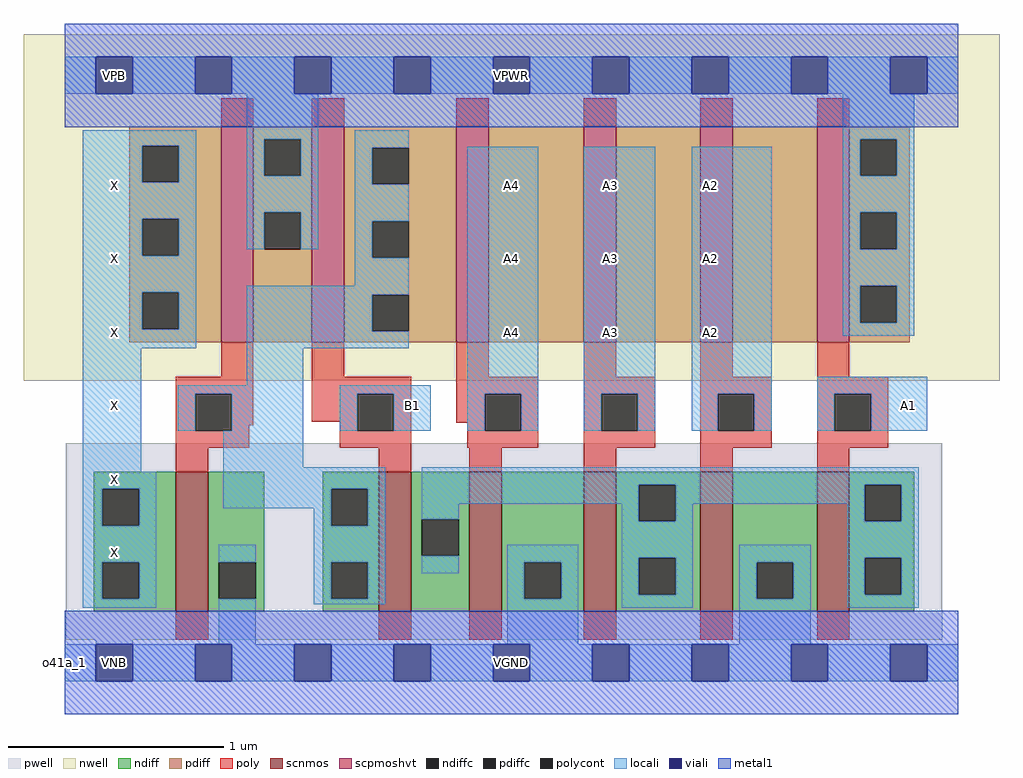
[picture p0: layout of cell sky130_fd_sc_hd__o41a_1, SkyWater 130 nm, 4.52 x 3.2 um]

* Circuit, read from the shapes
.subckt sky130_fd_sc_hd__o41a_1 A1 A2 A3 A4 B1 VGND VNB VPB VPWR X
XM1 VGND n1 X VNB sky130_fd_pr__nfet_01v8 w=0.65 l=0.15
XM2 n2 B1 n1 VNB sky130_fd_pr__nfet_01v8 w=0.65 l=0.15
XM3 VGND A4 n2 VNB sky130_fd_pr__nfet_01v8 w=0.65 l=0.15
XM4 n2 A3 VGND VNB sky130_fd_pr__nfet_01v8 w=0.65 l=0.15
XM5 VGND A2 n2 VNB sky130_fd_pr__nfet_01v8 w=0.65 l=0.15
XM6 n2 A1 VGND VNB sky130_fd_pr__nfet_01v8 w=0.65 l=0.15
XM7 VPWR n1 X VPB sky130_fd_pr__pfet_01v8_hvt w=1 l=0.15
XM8 n1 B1 VPWR VPB sky130_fd_pr__pfet_01v8_hvt w=1 l=0.15
XM9 n3 A4 n1 VPB sky130_fd_pr__pfet_01v8_hvt w=1 l=0.15
XM10 n4 A3 n3 VPB sky130_fd_pr__pfet_01v8_hvt w=1 l=0.15
XM11 n5 A2 n4 VPB sky130_fd_pr__pfet_01v8_hvt w=1 l=0.15
XM12 VPWR A1 n5 VPB sky130_fd_pr__pfet_01v8_hvt w=1 l=0.15
.ends

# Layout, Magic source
magic
tech sky130A
magscale 1 2
<< nwell >>
rect -38 261 866 582
<< pwell >>
rect 1 21 813 203
rect 29 -17 63 21
<< scnmos >>
rect 103 47 133 177
rect 291 47 321 177
rect 375 47 405 177
rect 481 47 511 177
rect 589 47 619 177
rect 697 47 727 177
<< scpmoshvt >>
rect 145 297 175 497
rect 229 297 259 497
rect 363 297 393 497
rect 481 297 511 497
rect 589 297 619 497
rect 697 297 727 497
<< ndiff >>
rect 27 161 103 177
rect 27 127 35 161
rect 69 127 103 161
rect 27 93 103 127
rect 27 59 35 93
rect 69 59 103 93
rect 27 47 103 59
rect 133 93 185 177
rect 133 59 143 93
rect 177 59 185 93
rect 133 47 185 59
rect 239 161 291 177
rect 239 127 247 161
rect 281 127 291 161
rect 239 93 291 127
rect 239 59 247 93
rect 281 59 291 93
rect 239 47 291 59
rect 321 133 375 177
rect 321 99 331 133
rect 365 99 375 133
rect 321 47 375 99
rect 405 93 481 177
rect 405 59 426 93
rect 460 59 481 93
rect 405 47 481 59
rect 511 165 589 177
rect 511 131 532 165
rect 566 131 589 165
rect 511 97 589 131
rect 511 63 532 97
rect 566 63 589 97
rect 511 47 589 63
rect 619 93 697 177
rect 619 59 641 93
rect 675 59 697 93
rect 619 47 697 59
rect 727 165 787 177
rect 727 131 741 165
rect 775 131 787 165
rect 727 97 787 131
rect 727 63 741 97
rect 775 63 787 97
rect 727 47 787 63
<< pdiff >>
rect 60 479 145 497
rect 60 445 72 479
rect 106 445 145 479
rect 60 411 145 445
rect 60 377 72 411
rect 106 377 145 411
rect 60 343 145 377
rect 60 309 72 343
rect 106 309 145 343
rect 60 297 145 309
rect 175 485 229 497
rect 175 451 185 485
rect 219 451 229 485
rect 175 417 229 451
rect 175 383 185 417
rect 219 383 229 417
rect 175 297 229 383
rect 259 477 363 497
rect 259 443 285 477
rect 319 443 363 477
rect 259 409 363 443
rect 259 375 285 409
rect 319 375 363 409
rect 259 341 363 375
rect 259 307 285 341
rect 319 307 363 341
rect 259 297 363 307
rect 393 297 481 497
rect 511 297 589 497
rect 619 297 697 497
rect 727 485 783 497
rect 727 451 737 485
rect 771 451 783 485
rect 727 417 783 451
rect 727 383 737 417
rect 771 383 783 417
rect 727 349 783 383
rect 727 315 737 349
rect 771 315 783 349
rect 727 297 783 315
<< ndiffc >>
rect 35 127 69 161
rect 35 59 69 93
rect 143 59 177 93
rect 247 127 281 161
rect 247 59 281 93
rect 331 99 365 133
rect 426 59 460 93
rect 532 131 566 165
rect 532 63 566 97
rect 641 59 675 93
rect 741 131 775 165
rect 741 63 775 97
<< pdiffc >>
rect 72 445 106 479
rect 72 377 106 411
rect 72 309 106 343
rect 185 451 219 485
rect 185 383 219 417
rect 285 443 319 477
rect 285 375 319 409
rect 285 307 319 341
rect 737 451 771 485
rect 737 383 771 417
rect 737 315 771 349
<< poly >>
rect 145 497 175 523
rect 229 497 259 523
rect 363 497 393 523
rect 481 497 511 523
rect 589 497 619 523
rect 697 497 727 523
rect 145 265 175 297
rect 103 249 175 265
rect 103 215 121 249
rect 155 220 175 249
rect 229 265 259 297
rect 363 265 393 297
rect 481 265 511 297
rect 589 265 619 297
rect 697 265 727 297
rect 229 249 321 265
rect 229 223 271 249
rect 155 215 171 220
rect 103 199 171 215
rect 255 215 271 223
rect 305 215 321 249
rect 363 249 439 265
rect 363 222 389 249
rect 255 199 321 215
rect 373 215 389 222
rect 423 215 439 249
rect 373 199 439 215
rect 481 249 547 265
rect 481 215 497 249
rect 531 215 547 249
rect 481 199 547 215
rect 589 249 655 265
rect 589 215 605 249
rect 639 215 655 249
rect 589 199 655 215
rect 697 249 763 265
rect 697 215 713 249
rect 747 215 763 249
rect 697 199 763 215
rect 103 177 133 199
rect 291 177 321 199
rect 375 177 405 199
rect 481 177 511 199
rect 589 177 619 199
rect 697 177 727 199
rect 103 21 133 47
rect 291 21 321 47
rect 375 21 405 47
rect 481 21 511 47
rect 589 21 619 47
rect 697 21 727 47
<< polycont >>
rect 121 215 155 249
rect 271 215 305 249
rect 389 215 423 249
rect 497 215 531 249
rect 605 215 639 249
rect 713 215 747 249
<< locali >>
rect 0 527 29 561
rect 63 527 121 561
rect 155 527 213 561
rect 247 527 305 561
rect 339 527 397 561
rect 431 527 489 561
rect 523 527 581 561
rect 615 527 673 561
rect 707 527 765 561
rect 799 527 828 561
rect 17 479 122 493
rect 17 445 72 479
rect 106 445 122 479
rect 17 411 122 445
rect 17 377 72 411
rect 106 377 122 411
rect 169 485 235 527
rect 169 451 185 485
rect 219 451 235 485
rect 169 417 235 451
rect 169 383 185 417
rect 219 383 235 417
rect 269 477 319 493
rect 721 485 787 527
rect 269 443 285 477
rect 269 409 319 443
rect 17 343 122 377
rect 269 375 285 409
rect 269 349 319 375
rect 17 309 72 343
rect 106 309 122 343
rect 17 291 122 309
rect 169 341 319 349
rect 169 307 285 341
rect 169 291 319 307
rect 17 177 71 291
rect 169 257 221 291
rect 105 249 221 257
rect 105 215 121 249
rect 155 215 221 249
rect 255 249 339 257
rect 255 215 271 249
rect 305 215 339 249
rect 373 249 439 478
rect 373 215 389 249
rect 423 215 439 249
rect 481 249 547 478
rect 481 215 497 249
rect 531 215 547 249
rect 581 249 655 478
rect 721 451 737 485
rect 771 451 787 485
rect 721 417 787 451
rect 721 383 737 417
rect 771 383 787 417
rect 721 349 787 383
rect 721 315 737 349
rect 771 315 787 349
rect 721 303 787 315
rect 581 215 605 249
rect 639 215 655 249
rect 697 249 799 265
rect 697 215 713 249
rect 747 215 799 249
rect 147 181 221 215
rect 17 161 85 177
rect 17 127 35 161
rect 69 127 85 161
rect 147 161 297 181
rect 147 143 247 161
rect 17 93 85 127
rect 231 127 247 143
rect 281 127 297 161
rect 17 59 35 93
rect 69 59 85 93
rect 17 51 85 59
rect 143 93 177 109
rect 143 17 177 59
rect 231 93 297 127
rect 231 59 247 93
rect 281 59 297 93
rect 331 165 791 181
rect 331 147 532 165
rect 331 133 365 147
rect 516 131 532 147
rect 566 147 741 165
rect 566 131 582 147
rect 331 83 365 99
rect 410 93 476 109
rect 231 54 297 59
rect 410 59 426 93
rect 460 59 476 93
rect 410 17 476 59
rect 516 97 582 131
rect 725 131 741 147
rect 775 131 791 165
rect 516 63 532 97
rect 566 63 582 97
rect 516 51 582 63
rect 625 93 691 109
rect 625 59 641 93
rect 675 59 691 93
rect 625 17 691 59
rect 725 97 791 131
rect 725 63 741 97
rect 775 63 791 97
rect 725 51 791 63
rect 0 -17 29 17
rect 63 -17 121 17
rect 155 -17 213 17
rect 247 -17 305 17
rect 339 -17 397 17
rect 431 -17 489 17
rect 523 -17 581 17
rect 615 -17 673 17
rect 707 -17 765 17
rect 799 -17 828 17
<< viali >>
rect 29 527 63 561
rect 121 527 155 561
rect 213 527 247 561
rect 305 527 339 561
rect 397 527 431 561
rect 489 527 523 561
rect 581 527 615 561
rect 673 527 707 561
rect 765 527 799 561
rect 29 -17 63 17
rect 121 -17 155 17
rect 213 -17 247 17
rect 305 -17 339 17
rect 397 -17 431 17
rect 489 -17 523 17
rect 581 -17 615 17
rect 673 -17 707 17
rect 765 -17 799 17
<< metal1 >>
rect 0 561 828 592
rect 0 527 29 561
rect 63 527 121 561
rect 155 527 213 561
rect 247 527 305 561
rect 339 527 397 561
rect 431 527 489 561
rect 523 527 581 561
rect 615 527 673 561
rect 707 527 765 561
rect 799 527 828 561
rect 0 496 828 527
rect 0 17 828 48
rect 0 -17 29 17
rect 63 -17 121 17
rect 155 -17 213 17
rect 247 -17 305 17
rect 339 -17 397 17
rect 431 -17 489 17
rect 523 -17 581 17
rect 615 -17 673 17
rect 707 -17 765 17
rect 799 -17 828 17
rect 0 -48 828 -17
<< labels >>
flabel locali s 765 221 799 255 0 FreeSans 250 0 0 0 A1
port 1 nsew signal input
flabel locali s 581 289 615 323 0 FreeSans 250 0 0 0 A2
port 2 nsew signal input
flabel locali s 581 357 615 391 0 FreeSans 250 0 0 0 A2
port 2 nsew signal input
flabel locali s 581 425 615 459 0 FreeSans 250 0 0 0 A2
port 2 nsew signal input
flabel locali s 489 289 523 323 0 FreeSans 250 0 0 0 A3
port 3 nsew signal input
flabel locali s 489 357 523 391 0 FreeSans 250 0 0 0 A3
port 3 nsew signal input
flabel locali s 489 425 523 459 0 FreeSans 250 0 0 0 A3
port 3 nsew signal input
flabel locali s 397 425 431 459 0 FreeSans 250 0 0 0 A4
port 4 nsew signal input
flabel locali s 397 357 431 391 0 FreeSans 250 0 0 0 A4
port 4 nsew signal input
flabel locali s 397 289 431 323 0 FreeSans 250 0 0 0 A4
port 4 nsew signal input
flabel locali s 305 221 339 255 0 FreeSans 250 0 0 0 B1
port 5 nsew signal input
flabel locali s 29 425 63 459 0 FreeSans 250 0 0 0 X
port 10 nsew signal output
flabel locali s 29 357 63 391 0 FreeSans 250 0 0 0 X
port 10 nsew signal output
flabel locali s 29 289 63 323 0 FreeSans 250 0 0 0 X
port 10 nsew signal output
flabel locali s 29 85 63 119 0 FreeSans 250 0 0 0 X
port 10 nsew signal output
flabel locali s 29 153 63 187 0 FreeSans 250 0 0 0 X
port 10 nsew signal output
flabel locali s 29 221 63 255 0 FreeSans 250 0 0 0 X
port 10 nsew signal output
flabel nwell s 29 527 63 561 0 FreeSans 200 0 0 0 VPB
port 8 nsew power bidirectional
flabel pwell s 29 -17 63 17 0 FreeSans 200 0 0 0 VNB
port 7 nsew ground bidirectional
flabel metal1 s 29 -17 63 17 0 FreeSans 200 0 0 0 VGND
port 6 nsew ground bidirectional abutment
flabel metal1 s 29 527 63 561 0 FreeSans 200 0 0 0 VPWR
port 9 nsew power bidirectional abutment
rlabel comment s 0 0 0 0 4 o41a_1
rlabel metal1 s 0 -48 828 48 1 VGND
port 6 nsew ground bidirectional abutment
rlabel metal1 s 0 496 828 592 1 VPWR
port 9 nsew power bidirectional abutment
<< properties >>
string FIXED_BBOX 0 0 828 544
string GDS_END 1517032
string GDS_FILE $PDKPATH/libs.ref/sky130_fd_sc_hd/gds/sky130_fd_sc_hd.gds
string GDS_START 1508878
string LEFclass CORE
string LEFsite unithd
string LEFsymmetry X Y R90
string path 0.000 0.000 4.140 0.000 
<< end >>
